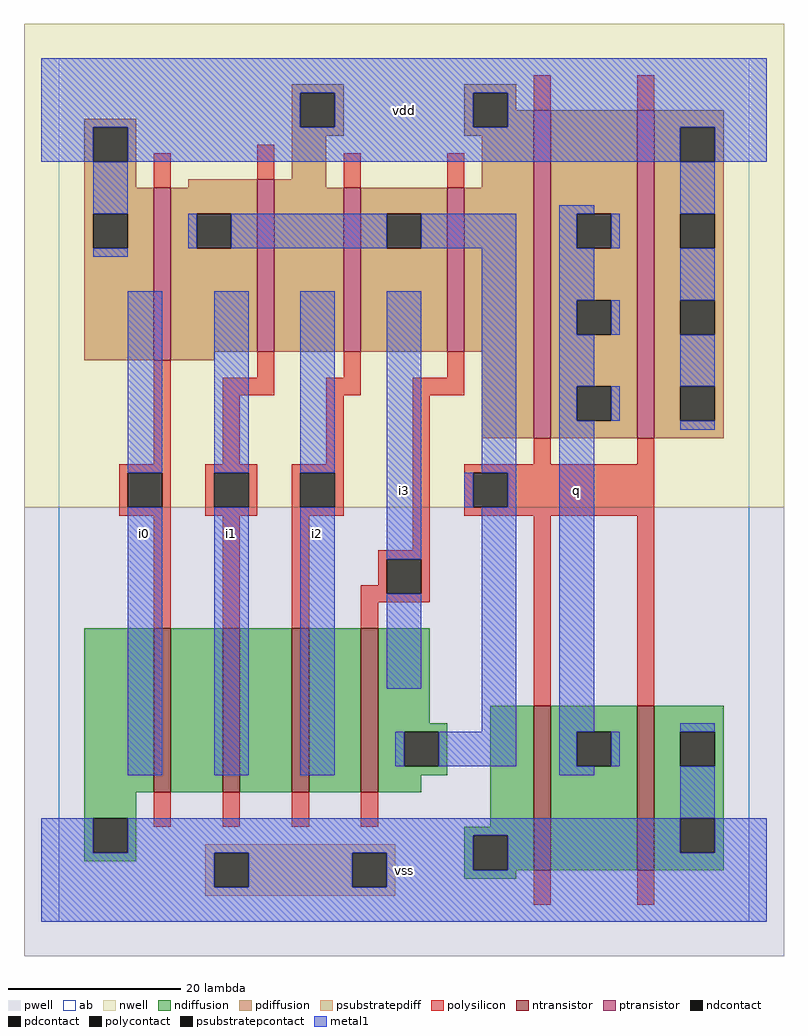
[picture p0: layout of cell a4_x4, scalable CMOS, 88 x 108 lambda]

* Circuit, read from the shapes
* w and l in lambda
.subckt a4_x4 i0 i1 i2 i3 q vdd vss
M1 n1 i0 vss vss nfet w=19 l=2
M2 n2 i1 n1 vss nfet w=19 l=2
M3 n3 i2 n2 vss nfet w=19 l=2
M4 n4 i3 n3 vss nfet w=19 l=2
M5 q n4 vss vss nfet w=19 l=2 m=2
M6 n4 i0 vdd n5 pfet w=20 l=2
M7 vdd i1 n4 n5 pfet w=20 l=2
M8 n4 i2 vdd n5 pfet w=19 l=2
M9 vdd i3 n4 n5 pfet w=19 l=2
M10 q n4 vdd n5 pfet w=38 l=2 m=2
.ends

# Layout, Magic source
magic
tech scmos
<< ab >>
rect 0 0 80 100
<< pwell >>
rect -4 -4 84 48
<< nwell >>
rect -4 48 84 104
<< polysilicon >>
rect 55 94 57 98
rect 67 94 69 98
rect 11 85 13 89
rect 23 86 25 90
rect 33 85 35 89
rect 45 85 47 89
rect 11 53 13 65
rect 23 63 25 66
rect 33 63 35 66
rect 45 63 47 66
rect 19 61 25 63
rect 31 61 35 63
rect 41 61 47 63
rect 19 53 21 61
rect 31 53 33 61
rect 7 52 13 53
rect 7 48 8 52
rect 12 48 13 52
rect 7 47 13 48
rect 17 52 23 53
rect 17 48 18 52
rect 22 48 23 52
rect 17 47 23 48
rect 27 52 33 53
rect 27 48 28 52
rect 32 48 33 52
rect 27 47 33 48
rect 11 34 13 47
rect 19 34 21 47
rect 27 34 29 47
rect 41 43 43 61
rect 55 53 57 56
rect 67 53 69 56
rect 47 52 69 53
rect 47 48 48 52
rect 52 48 69 52
rect 47 47 69 48
rect 37 42 43 43
rect 37 39 38 42
rect 35 38 38 39
rect 42 38 43 42
rect 35 37 43 38
rect 35 34 37 37
rect 55 25 57 47
rect 67 25 69 47
rect 11 11 13 15
rect 19 11 21 15
rect 27 11 29 15
rect 35 11 37 15
rect 55 2 57 6
rect 67 2 69 6
<< ndiffusion >>
rect 3 15 11 34
rect 13 15 19 34
rect 21 15 27 34
rect 29 15 35 34
rect 37 23 43 34
rect 37 22 45 23
rect 37 18 40 22
rect 44 18 45 22
rect 37 17 45 18
rect 37 15 42 17
rect 3 12 9 15
rect 3 8 4 12
rect 8 8 9 12
rect 50 11 55 25
rect 47 10 55 11
rect 3 7 9 8
rect 47 6 48 10
rect 52 6 55 10
rect 57 22 67 25
rect 57 18 60 22
rect 64 18 67 22
rect 57 6 67 18
rect 69 22 77 25
rect 69 18 72 22
rect 76 18 77 22
rect 69 12 77 18
rect 69 8 72 12
rect 76 8 77 12
rect 69 6 77 8
rect 47 5 53 6
<< pdiffusion >>
rect 27 96 33 97
rect 3 92 9 93
rect 3 88 4 92
rect 8 88 9 92
rect 27 92 28 96
rect 32 92 33 96
rect 27 91 33 92
rect 47 96 53 97
rect 47 92 48 96
rect 52 94 53 96
rect 52 92 55 94
rect 47 91 55 92
rect 3 85 9 88
rect 27 86 31 91
rect 15 85 23 86
rect 3 82 11 85
rect 3 78 4 82
rect 8 78 11 82
rect 3 65 11 78
rect 13 82 23 85
rect 13 78 16 82
rect 20 78 23 82
rect 13 66 23 78
rect 25 85 31 86
rect 49 85 55 91
rect 25 66 33 85
rect 35 82 45 85
rect 35 78 38 82
rect 42 78 45 82
rect 35 66 45 78
rect 47 66 55 85
rect 13 65 18 66
rect 49 56 55 66
rect 57 82 67 94
rect 57 78 60 82
rect 64 78 67 82
rect 57 72 67 78
rect 57 68 60 72
rect 64 68 67 72
rect 57 62 67 68
rect 57 58 60 62
rect 64 58 67 62
rect 57 56 67 58
rect 69 92 77 94
rect 69 88 72 92
rect 76 88 77 92
rect 69 82 77 88
rect 69 78 72 82
rect 76 78 77 82
rect 69 72 77 78
rect 69 68 72 72
rect 76 68 77 72
rect 69 62 77 68
rect 69 58 72 62
rect 76 58 77 62
rect 69 56 77 58
<< metal1 >>
rect -2 96 82 100
rect -2 92 28 96
rect 32 92 48 96
rect 52 92 82 96
rect -2 88 4 92
rect 8 88 72 92
rect 76 88 82 92
rect 4 82 8 88
rect 58 82 62 83
rect 72 82 76 88
rect 15 78 16 82
rect 20 78 38 82
rect 42 78 53 82
rect 4 77 8 78
rect 8 52 12 73
rect 8 17 12 48
rect 18 52 22 73
rect 18 17 22 48
rect 28 52 32 73
rect 28 17 32 48
rect 38 42 42 73
rect 49 52 53 78
rect 47 48 48 52
rect 52 48 53 52
rect 38 27 42 38
rect 49 22 53 48
rect 39 18 40 22
rect 44 18 53 22
rect 58 78 60 82
rect 64 78 65 82
rect 58 72 62 78
rect 72 72 76 78
rect 58 68 60 72
rect 64 68 65 72
rect 58 62 62 68
rect 72 62 76 68
rect 58 58 60 62
rect 64 58 65 62
rect 58 22 62 58
rect 72 57 76 58
rect 72 22 76 23
rect 58 18 60 22
rect 64 18 65 22
rect 58 17 62 18
rect 72 12 76 18
rect -2 8 4 12
rect 8 10 72 12
rect 8 8 48 10
rect -2 4 18 8
rect 22 4 34 8
rect 38 6 48 8
rect 52 8 72 10
rect 76 8 82 12
rect 52 6 82 8
rect 38 4 82 6
rect -2 0 82 4
<< ntransistor >>
rect 11 15 13 34
rect 19 15 21 34
rect 27 15 29 34
rect 35 15 37 34
rect 55 6 57 25
rect 67 6 69 25
<< ptransistor >>
rect 11 65 13 85
rect 23 66 25 86
rect 33 66 35 85
rect 45 66 47 85
rect 55 56 57 94
rect 67 56 69 94
<< polycontact >>
rect 8 48 12 52
rect 18 48 22 52
rect 28 48 32 52
rect 48 48 52 52
rect 38 38 42 42
<< ndcontact >>
rect 40 18 44 22
rect 4 8 8 12
rect 48 6 52 10
rect 60 18 64 22
rect 72 18 76 22
rect 72 8 76 12
<< pdcontact >>
rect 4 88 8 92
rect 28 92 32 96
rect 48 92 52 96
rect 4 78 8 82
rect 16 78 20 82
rect 38 78 42 82
rect 60 78 64 82
rect 60 68 64 72
rect 60 58 64 62
rect 72 88 76 92
rect 72 78 76 82
rect 72 68 76 72
rect 72 58 76 62
<< psubstratepcontact >>
rect 18 4 22 8
rect 34 4 38 8
<< psubstratepdiff >>
rect 17 8 39 9
rect 17 4 18 8
rect 22 4 34 8
rect 38 4 39 8
rect 17 3 39 4
<< labels >>
rlabel metal1 10 45 10 45 6 i0
rlabel metal1 20 45 20 45 6 i1
rlabel metal1 30 45 30 45 6 i2
rlabel metal1 40 6 40 6 6 vss
rlabel metal1 40 50 40 50 6 i3
rlabel metal1 40 94 40 94 6 vdd
rlabel metal1 60 50 60 50 6 q
<< end >>
